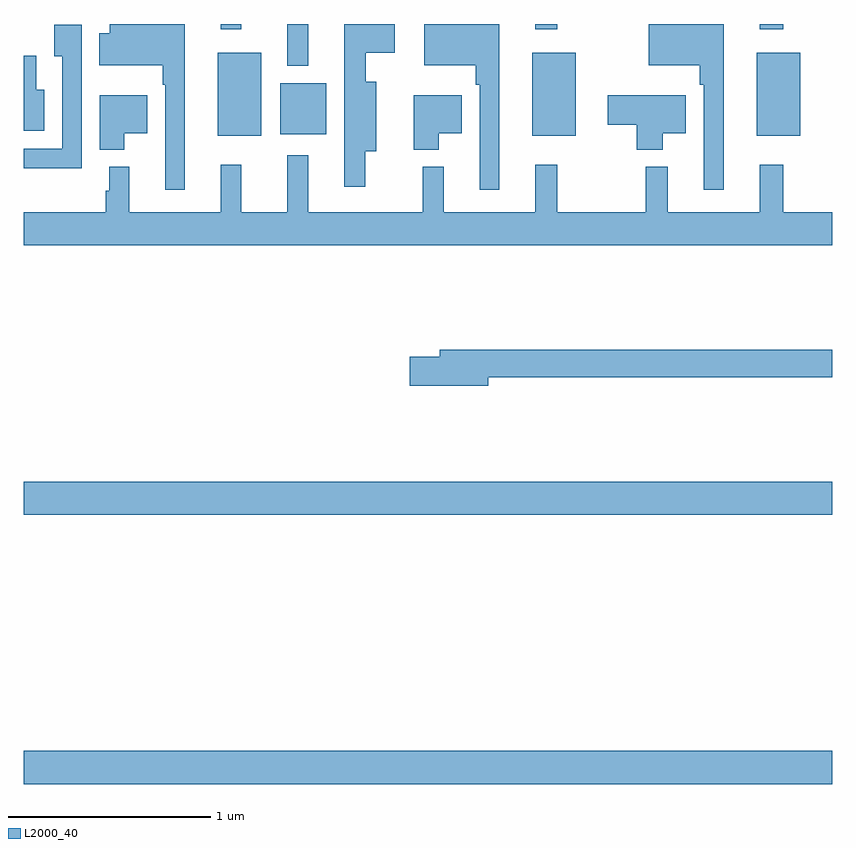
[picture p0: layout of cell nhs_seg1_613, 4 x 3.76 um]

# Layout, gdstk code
import gdstk
lib = gdstk.Library(unit=1e-6, precision=1e-09)
def R(c, l, rs):  # rectangles x0, y0, x1, y1
    for r in rs: c.add(gdstk.rectangle(r[:2], r[2:], *l))
def P(c, l, *ps):  # polygons
    for p in ps: c.add(gdstk.Polygon(p, *l))
L2000_40 = (2000, 40)

nhs_seg1_613 = lib.new_cell('nhs_seg1_613')
R(nhs_seg1_613, L2000_40, [(145,510.44,149,510.604), (145,511.772,149,511.936), (145.961,513.647,146.176,514.057), (147.515,513.647,147.73,514.057), (148.625,513.647,148.84,514.057), (146.27,513.653,146.497,513.907), (146.303,513.992,146.407,514.199), (145.976,514.173,146.076,514.199), (147.53,514.173,147.64,514.199), (148.64,514.173,148.757,514.199)])
P(nhs_seg1_613, L2000_40, [(148.462,514.199),(148.092,514.199),(148.092,513.995),(148.345,513.995),(148.345,513.899),(148.365,513.899),(148.365,513.378),(148.462,513.378)],
  [(147.352,514.199),(146.982,514.199),(146.982,513.995),(147.235,513.995),(147.235,513.899),(147.255,513.899),(147.255,513.378),(147.352,513.378)],
  [(146.689,513.569),(146.743,513.569),(146.743,513.913),(146.692,513.913),(146.692,514.058),(146.836,514.058),(146.836,514.199),(146.585,514.199),(146.585,513.393),(146.689,513.393)],
  [(145.798,514.199),(145.427,514.199),(145.427,514.153),(145.374,514.153),(145.374,513.995),(145.689,513.995),(145.689,513.899),(145.701,513.899),(145.701,513.378),(145.798,513.378)],
  [(145.287,514.195),(145.151,514.195),(145.151,514.039),(145.191,514.039),(145.191,513.582),(145,513.582),(145,513.486),(145.015,513.486),(145.015,513.485),(145.287,513.485)],
  [(145.102,513.874),(145.063,513.874),(145.063,514.042),(145,514.042),(145,513.671),(145.102,513.671)],
  [(147.052,513.659),(147.166,513.659),(147.166,513.847),(146.93,513.847),(146.93,513.578),(147.052,513.578)],
  [(145.498,513.659),(145.612,513.659),(145.612,513.847),(145.376,513.847),(145.376,513.578),(145.498,513.578)],
  [(148.162,513.659),(148.276,513.659),(148.276,513.847),(147.888,513.847),(147.888,513.7),(148.033,513.7),(148.033,513.578),(148.162,513.578)],
  [(149,513.268),(148.757,513.268),(148.757,513.502),(148.64,513.502),(148.64,513.268),(148.187,513.268),(148.187,513.493),(148.077,513.493),(148.077,513.268),(147.64,513.268),(147.64,513.502),(147.53,513.502),(147.53,513.268),(147.077,513.268),(147.077,513.493),(146.974,513.493),(146.974,513.268),(146.407,513.268),(146.407,513.55),(146.303,513.55),(146.303,513.268),(146.076,513.268),(146.076,513.502),(145.976,513.502),(145.976,513.268),(145.523,513.268),(145.523,513.493),(145.424,513.493),(145.424,513.375),(145.405,513.375),(145.405,513.268),(145,513.268),(145,513.104),(149,513.104)],
  [(147.298,512.452),(149,512.452),(149,512.588),(147.059,512.588),(147.059,512.552),(146.91,512.552),(146.91,512.41),(147.298,512.41)])

lib.write_gds('nhs_seg1_613.gds')
